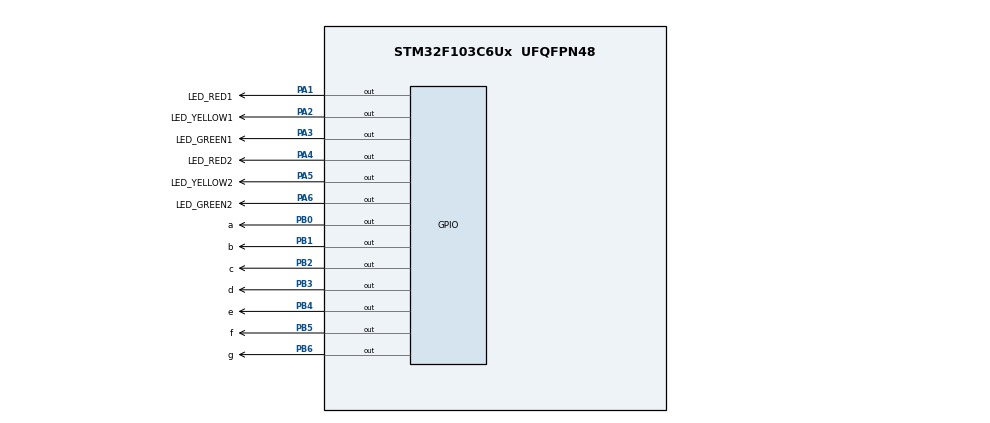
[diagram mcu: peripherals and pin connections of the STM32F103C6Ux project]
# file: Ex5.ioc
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Mcu.Family=STM32F1
Mcu.Name=STM32F103C6Ux
Mcu.Package=UFQFPN48
NVIC.PriorityGroup=NVIC_PRIORITYGROUP_4
PA1.GPIO_Label=LED_RED1
PA1.Signal=GPIO_Output
PA2.GPIO_Label=LED_YELLOW1
PA2.Signal=GPIO_Output
PA3.GPIO_Label=LED_GREEN1
PA3.Signal=GPIO_Output
PA4.GPIO_Label=LED_RED2
PA4.Signal=GPIO_Output
PA5.GPIO_Label=LED_YELLOW2
PA5.Signal=GPIO_Output
PA6.GPIO_Label=LED_GREEN2
PA6.Signal=GPIO_Output
PB0.GPIO_Label=a
PB0.Signal=GPIO_Output
PB1.GPIO_Label=b
PB1.Signal=GPIO_Output
PB2.GPIO_Label=c
PB2.Signal=GPIO_Output
PB3.GPIO_Label=d
PB3.Signal=GPIO_Output
PB4.GPIO_Label=e
PB4.Signal=GPIO_Output
PB5.GPIO_Label=f
PB5.Signal=GPIO_Output
PB6.GPIO_Label=g
PB6.Signal=GPIO_Output
ProjectManager.HeapSize=0x200
ProjectManager.StackSize=0x400
ProjectManager.TargetToolchain=STM32CubeIDE
RCC.APB1Freq_Value=8000000
RCC.APB2Freq_Value=8000000
VP_SYS_VS_ND.Mode=No_Debug
board=custom

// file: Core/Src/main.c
/* USER CODE BEGIN Header */
/**
  ******************************************************************************
  * @file           : main.c
  * @brief          : Main program body
  ******************************************************************************
  * @attention
  *
  * <h2><center>&copy; Copyright (c) 2023 STMicroelectronics.
  * All rights reserved.</center></h2>
  *
  * This software component is licensed by ST under BSD 3-Clause license,
  * the "License"; You may not use this file except in compliance with the
  * License. You may obtain a copy of the License at:
  *                        opensource.org/licenses/BSD-3-Clause
  *
  ******************************************************************************
  */
/* USER CODE END Header */
#include "main.h"

void SystemClock_Config(void);
static void MX_GPIO_Init(void);

int main(void)
{

  /* MCU Configuration--------------------------------------------------------*/

  /* Reset of all peripherals, Initializes the Flash interface and the Systick. */
  HAL_Init();

  /* Configure the system clock */
  SystemClock_Config();

  /* Initialize all configured peripherals */
  MX_GPIO_Init();

  /* Infinite loop */
  /* USER CODE BEGIN WHILE */
  void display7SEG(int num){
  	if(num == 0){
  		HAL_GPIO_WritePin(a_GPIO_Port, a_Pin , RESET);
  		HAL_GPIO_WritePin(b_GPIO_Port, b_Pin , RESET);
  		HAL_GPIO_WritePin(c_GPIO_Port, c_Pin , RESET);
  		HAL_GPIO_WritePin(d_GPIO_Port, d_Pin , RESET);
  		HAL_GPIO_WritePin(e_GPIO_Port, e_Pin , RESET);
  		HAL_GPIO_WritePin(f_GPIO_Port, f_Pin , RESET);
  		HAL_GPIO_WritePin(g_GPIO_Port, g_Pin , SET);
  	}
  	else if(num ==1){
  		HAL_GPIO_WritePin(a_GPIO_Port, a_Pin , SET);
  		HAL_GPIO_WritePin(b_GPIO_Port, b_Pin , RESET);
  		HAL_GPIO_WritePin(c_GPIO_Port, c_Pin , RESET);
  		HAL_GPIO_WritePin(d_GPIO_Port, d_Pin , SET);
  		HAL_GPIO_WritePin(e_GPIO_Port, e_Pin , SET);
  		HAL_GPIO_WritePin(f_GPIO_Port, f_Pin , SET);
  		HAL_GPIO_WritePin(g_GPIO_Port, g_Pin , SET);
  	}
  	else if(num == 2){
  		HAL_GPIO_WritePin(a_GPIO_Port, a_Pin , RESET);
  		HAL_GPIO_WritePin(b_GPIO_Port, b_Pin , RESET);
  		HAL_GPIO_WritePin(c_GPIO_Port, c_Pin , SET);
  		HAL_GPIO_WritePin(d_GPIO_Port, d_Pin , RESET);
  		HAL_GPIO_WritePin(e_GPIO_Port, e_Pin , RESET);
  		HAL_GPIO_WritePin(f_GPIO_Port, f_Pin , SET);
  		HAL_GPIO_WritePin(g_GPIO_Port, g_Pin , RESET);
  	}
  	else if(num == 3){
  		HAL_GPIO_WritePin(a_GPIO_Port, a_Pin , RESET);
  		HAL_GPIO_WritePin(b_GPIO_Port, b_Pin , RESET);
  		HAL_GPIO_WritePin(c_GPIO_Port, c_Pin , RESET);
  		HAL_GPIO_WritePin(d_GPIO_Port, d_Pin , RESET);
  		HAL_GPIO_WritePin(e_GPIO_Port, e_Pin , SET);
  		HAL_GPIO_WritePin(f_GPIO_Port, f_Pin , SET);
  		HAL_GPIO_WritePin(g_GPIO_Port, g_Pin , RESET);
  	}
  	else if(num ==4){
  		HAL_GPIO_WritePin(a_GPIO_Port, a_Pin , SET);
  		HAL_GPIO_WritePin(b_GPIO_Port, b_Pin , RESET);
  		HAL_GPIO_WritePin(c_GPIO_Port, c_Pin , RESET);
  		HAL_GPIO_WritePin(d_GPIO_Port, d_Pin , SET);
  		HAL_GPIO_WritePin(e_GPIO_Port, e_Pin , SET);
  		HAL_GPIO_WritePin(f_GPIO_Port, f_Pin , RESET);
  		HAL_GPIO_WritePin(g_GPIO_Port, g_Pin , RESET);
  	}
  	else if(num == 5){
  		HAL_GPIO_WritePin(a_GPIO_Port, a_Pin , RESET);
  		HAL_GPIO_WritePin(b_GPIO_Port, b_Pin , SET);
  		HAL_GPIO_WritePin(c_GPIO_Port, c_Pin , RESET);
  		HAL_GPIO_WritePin(d_GPIO_Port, d_Pin , RESET);
  		HAL_GPIO_WritePin(e_GPIO_Port, e_Pin , SET);
  		HAL_GPIO_WritePin(f_GPIO_Port, f_Pin , RESET);
  		HAL_GPIO_WritePin(g_GPIO_Port, g_Pin , RESET);
  	}
  	else if(num == 6){
  		HAL_GPIO_WritePin(a_GPIO_Port, a_Pin , RESET);
  		HAL_GPIO_WritePin(b_GPIO_Port, b_Pin , SET);
  		HAL_GPIO_WritePin(c_GPIO_Port, c_Pin , RESET);
  		HAL_GPIO_WritePin(d_GPIO_Port, d_Pin , RESET);
  		HAL_GPIO_WritePin(e_GPIO_Port, e_Pin , RESET);
  		HAL_GPIO_WritePin(f_GPIO_Port, f_Pin , RESET);
  		HAL_GPIO_WritePin(g_GPIO_Port, g_Pin , RESET);
  	}
  	else if(num == 7){
  		HAL_GPIO_WritePin(a_GPIO_Port, a_Pin , RESET);
  		HAL_GPIO_WritePin(b_GPIO_Port, b_Pin , RESET);
  		HAL_GPIO_WritePin(c_GPIO_Port, c_Pin , RESET);
  		HAL_GPIO_WritePin(d_GPIO_Port, d_Pin , SET);
  		HAL_GPIO_WritePin(e_GPIO_Port, e_Pin , SET);
  		HAL_GPIO_WritePin(f_GPIO_Port, f_Pin , SET);
  		HAL_GPIO_WritePin(g_GPIO_Port, g_Pin , SET);
  	}
  	else if(num == 8){
  		HAL_GPIO_WritePin(a_GPIO_Port, a_Pin , RESET);
  		HAL_GPIO_WritePin(b_GPIO_Port, b_Pin , RESET);
  		HAL_GPIO_WritePin(c_GPIO_Port, c_Pin , RESET);
  		HAL_GPIO_WritePin(d_GPIO_Port, d_Pin , RESET);
  		HAL_GPIO_WritePin(e_GPIO_Port, e_Pin , RESET);
  		HAL_GPIO_WritePin(f_GPIO_Port, f_Pin , RESET);
  		HAL_GPIO_WritePin(g_GPIO_Port, g_Pin , RESET);
  	}
  	else if(num == 9){
  		HAL_GPIO_WritePin(a_GPIO_Port, a_Pin , RESET);
  		HAL_GPIO_WritePin(b_GPIO_Port, b_Pin , RESET);
  		HAL_GPIO_WritePin(c_GPIO_Port, c_Pin , RESET);
  		HAL_GPIO_WritePin(d_GPIO_Port, d_Pin , RESET);
  		HAL_GPIO_WritePin(e_GPIO_Port, e_Pin , SET);
  		HAL_GPIO_WritePin(f_GPIO_Port, f_Pin , RESET);
  		HAL_GPIO_WritePin(g_GPIO_Port, g_Pin , RESET);
  	}
  }
  enum trafficstatus{
   	GREEN1_RED2,
   	YELLOW1_RED2,
   	RED1_GREEN2,
   	RED1_YELLOW2,
   };
 void trafficlight (enum trafficstatus current){
 	switch(current){
 	case GREEN1_RED2:
 		HAL_GPIO_WritePin(LED_RED1_GPIO_Port, LED_RED1_Pin , SET);
 		HAL_GPIO_WritePin(LED_YELLOW1_GPIO_Port, LED_YELLOW1_Pin , SET);
 		HAL_GPIO_WritePin(LED_GREEN1_GPIO_Port, LED_GREEN1_Pin , RESET);
 		HAL_GPIO_WritePin(LED_RED2_GPIO_Port, LED_RED2_Pin , RESET);
 		HAL_GPIO_WritePin(LED_YELLOW2_GPIO_Port, LED_YELLOW2_Pin , SET);
 		HAL_GPIO_WritePin(LED_GREEN2_GPIO_Port, LED_GREEN2_Pin , SET);
 		break;
 	case YELLOW1_RED2:
 		HAL_GPIO_WritePin(LED_RED1_GPIO_Port, LED_RED1_Pin, SET);
 		HAL_GPIO_WritePin(LED_YELLOW1_GPIO_Port, LED_YELLOW1_Pin , RESET);
 		HAL_GPIO_WritePin(LED_GREEN1_GPIO_Port, LED_GREEN1_Pin , SET);
 		HAL_GPIO_WritePin(LED_RED2_GPIO_Port, LED_RED2_Pin , RESET);
 		HAL_GPIO_WritePin(LED_YELLOW2_GPIO_Port, LED_YELLOW2_Pin , SET);
 		HAL_GPIO_WritePin(LED_GREEN2_GPIO_Port, LED_GREEN2_Pin , SET);
 		break;
 	case RED1_GREEN2:
 		HAL_GPIO_WritePin(LED_RED1_GPIO_Port, LED_RED1_Pin , RESET);
 		HAL_GPIO_WritePin(LED_YELLOW1_GPIO_Port, LED_YELLOW1_Pin , SET);
 		HAL_GPIO_WritePin(LED_GREEN1_GPIO_Port, LED_GREEN1_Pin , SET);
 		HAL_GPIO_WritePin(LED_RED2_GPIO_Port, LED_RED2_Pin , SET);
 		HAL_GPIO_WritePin(LED_YELLOW2_GPIO_Port, LED_YELLOW2_Pin , SET);
 		HAL_GPIO_WritePin(LED_GREEN2_GPIO_Port, LED_GREEN2_Pin , RESET);
 		break;
 	case RED1_YELLOW2:
 		HAL_GPIO_WritePin(LED_RED1_GPIO_Port, LED_RED1_Pin , RESET);
 		HAL_GPIO_WritePin(LED_YELLOW1_GPIO_Port, LED_YELLOW1_Pin , SET);
 		HAL_GPIO_WritePin(LED_GREEN1_GPIO_Port, LED_GREEN1_Pin , SET);
 		HAL_GPIO_WritePin(LED_RED2_GPIO_Port, LED_RED2_Pin , SET);
 		HAL_GPIO_WritePin(LED_YELLOW2_GPIO_Port, LED_YELLOW2_Pin , RESET);
 		HAL_GPIO_WritePin(LED_GREEN2_GPIO_Port, LED_GREEN2_Pin , SET);
 		break;
 	}
 }
 enum trafficstatus current = GREEN1_RED2;
 int counter_green = 3;
 int counter_yellow = 2;
 int counter = 5;
 while (1)
   {
    /* USER CODE END WHILE */
 switch(current){
 	  case GREEN1_RED2:
 		  display7SEG(counter_green - 1);
 		  counter_green--;
 		  trafficlight(current);
 		  if(counter_green <= 0){
 			  current = YELLOW1_RED2;
 			  counter_green = 3;
 		  }
 		  break;
 	  case YELLOW1_RED2:
 		  display7SEG(counter_yellow - 1);
 		  counter_yellow--;
 		  trafficlight(current);
 		  if(counter_yellow <= 0){
 			  current = RED1_GREEN2;
 			  counter_yellow = 2;
 		  }
 		  break;
 	  case RED1_GREEN2:
 		  counter_green--;
 		  display7SEG(counter - 1);
 		  counter--;
 		  trafficlight(current);
 		  if(counter_green <= 0){
 			  current = RED1_YELLOW2;
 			  counter_green = 3;
 		  }
 		  break;
 	  case RED1_YELLOW2:
 		  counter_yellow--;
 		  display7SEG(counter - 1);
 		  counter--;
 		  trafficlight(current);
 		  if(counter_yellow <= 0){
 			  current = GREEN1_RED2;
 			  counter_yellow = 2;
 			  counter = 5;
 		  }
 		  break;
 	  }
 	  HAL_Delay(1000);
   }
}

void SystemClock_Config(void)
{
  RCC_OscInitTypeDef RCC_OscInitStruct = {0};
  RCC_ClkInitTypeDef RCC_ClkInitStruct = {0};

  /** Initializes the RCC Oscillators according to the specified parameters
  * in the RCC_OscInitTypeDef structure.
  */
  RCC_OscInitStruct.OscillatorType = RCC_OSCILLATORTYPE_HSI;
  RCC_OscInitStruct.HSIState = RCC_HSI_ON;
  RCC_OscInitStruct.HSICalibrationValue = RCC_HSICALIBRATION_DEFAULT;
  RCC_OscInitStruct.PLL.PLLState = RCC_PLL_NONE;
  if (HAL_RCC_OscConfig(&RCC_OscInitStruct) != HAL_OK)
  {
    Error_Handler();
  }
  /** Initializes the CPU, AHB and APB buses clocks
  */
  RCC_ClkInitStruct.ClockType = RCC_CLOCKTYPE_HCLK|RCC_CLOCKTYPE_SYSCLK
                              |RCC_CLOCKTYPE_PCLK1|RCC_CLOCKTYPE_PCLK2;
  RCC_ClkInitStruct.SYSCLKSource = RCC_SYSCLKSOURCE_HSI;
  RCC_ClkInitStruct.AHBCLKDivider = RCC_SYSCLK_DIV1;
  RCC_ClkInitStruct.APB1CLKDivider = RCC_HCLK_DIV1;
  RCC_ClkInitStruct.APB2CLKDivider = RCC_HCLK_DIV1;

  if (HAL_RCC_ClockConfig(&RCC_ClkInitStruct, FLASH_LATENCY_0) != HAL_OK)
  {
    Error_Handler();
  }
}

static void MX_GPIO_Init(void)
{
  GPIO_InitTypeDef GPIO_InitStruct = {0};

  /* GPIO Ports Clock Enable */
  __HAL_RCC_GPIOA_CLK_ENABLE();
  __HAL_RCC_GPIOB_CLK_ENABLE();

  /*Configure GPIO pin Output Level */
  HAL_GPIO_WritePin(GPIOA, LED_RED1_Pin|LED_YELLOW1_Pin|LED_GREEN1_Pin|LED_RED2_Pin
                          |LED_YELLOW2_Pin|LED_GREEN2_Pin, GPIO_PIN_RESET);

  /*Configure GPIO pin Output Level */
  HAL_GPIO_WritePin(GPIOB, a_Pin|b_Pin|c_Pin|d_Pin
                          |e_Pin|f_Pin|g_Pin, GPIO_PIN_RESET);

  /*Configure GPIO pins : LED_RED1_Pin LED_YELLOW1_Pin LED_GREEN1_Pin LED_RED2_Pin
                           LED_YELLOW2_Pin LED_GREEN2_Pin */
  GPIO_InitStruct.Pin = LED_RED1_Pin|LED_YELLOW1_Pin|LED_GREEN1_Pin|LED_RED2_Pin
                          |LED_YELLOW2_Pin|LED_GREEN2_Pin;
  GPIO_InitStruct.Mode = GPIO_MODE_OUTPUT_PP;
  GPIO_InitStruct.Pull = GPIO_NOPULL;
  GPIO_InitStruct.Speed = GPIO_SPEED_FREQ_LOW;
  HAL_GPIO_Init(GPIOA, &GPIO_InitStruct);

  /*Configure GPIO pins : a_Pin b_Pin c_Pin d_Pin
                           e_Pin f_Pin g_Pin */
  GPIO_InitStruct.Pin = a_Pin|b_Pin|c_Pin|d_Pin
                          |e_Pin|f_Pin|g_Pin;
  GPIO_InitStruct.Mode = GPIO_MODE_OUTPUT_PP;
  GPIO_InitStruct.Pull = GPIO_NOPULL;
  GPIO_InitStruct.Speed = GPIO_SPEED_FREQ_LOW;
  HAL_GPIO_Init(GPIOB, &GPIO_InitStruct);

}

void Error_Handler(void)
{
  __disable_irq();
  while (1)
  {
  }
}

/************************ (C) COPYRIGHT STMicroelectronics *****END OF FILE****/
